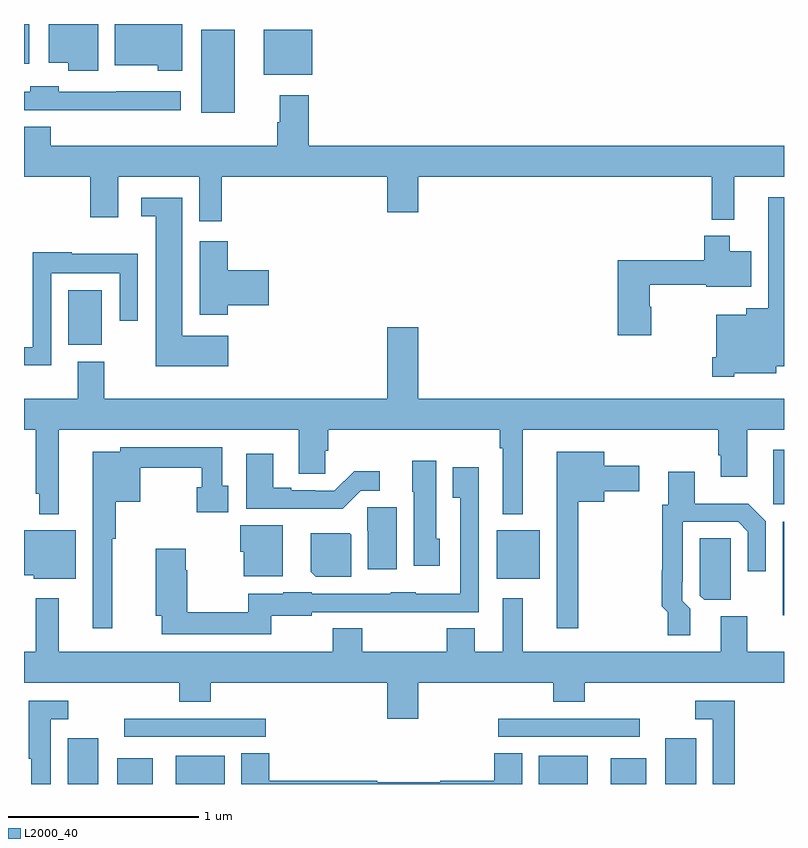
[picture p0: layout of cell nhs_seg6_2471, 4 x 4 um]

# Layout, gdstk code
import gdstk
lib = gdstk.Library(unit=1e-6, precision=1e-09)
def R(c, l, rs):  # rectangles x0, y0, x1, y1
    for r in rs: c.add(gdstk.rectangle(r[:2], r[2:], *l))
def P(c, l, *ps):  # polygons
    for p in ps: c.add(gdstk.Polygon(p, *l))
L2000_40 = (2000, 40)

nhs_seg6_2471 = lib.new_cell('nhs_seg6_2471')
R(nhs_seg6_2471, L2000_40, [(259.229,917.5,259.39,917.74), (259.49,917.5,259.678,917.635), (259.799,917.5,260.056,917.65), (261.71,917.5,261.967,917.65), (262.088,917.5,262.276,917.635), (262.376,917.5,262.537,917.74), (259.527,917.748,260.272,917.844), (261.495,917.748,262.24,917.844), (262.994,918.387,263,918.88), (261.488,918.581,261.715,918.835), (262.943,918.972,263,919.258), (259.232,919.811,259.408,920.098), (259.934,921.032,260.11,921.469), (260.261,921.233,260.518,921.469), (259,921.29,259.027,921.5)])
P(nhs_seg6_2471, L2000_40, [(259.39,921.5),(259.13,921.5),(259.13,921.296),(259.233,921.296),(259.233,921.254),(259.39,921.254)],
  [(259.834,921.499),(259.478,921.499),(259.478,921.284),(259.705,921.284),(259.705,921.254),(259.834,921.254)],
  [(259.825,921.145),(259.486,921.145),(259.486,921.144),(259.182,921.144),(259.182,921.172),(259.032,921.172),(259.032,921.144),(259,921.144),(259,921.047),(259.825,921.047)],
  [(260.041,920.696),(260.912,920.696),(260.912,920.508),(261.076,920.508),(261.076,920.696),(262.621,920.696),(262.621,920.471),(262.739,920.471),(262.739,920.696),(263,920.696),(263,920.86),(260.498,920.86),(260.498,921.124),(260.345,921.124),(260.345,920.984),(260.333,920.984),(260.333,920.86),(259.142,920.86),(259.142,920.959),(259,920.959),(259,920.696),(259.348,920.696),(259.348,920.484),(259.495,920.484),(259.495,920.696),(259.922,920.696),(259.922,920.463),(260.041,920.463)],
  [(262.737,919.661),(262.96,919.661),(262.96,919.7),(263,919.7),(263,920.587),(262.917,920.587),(262.917,920.005),(262.802,920.005),(262.802,919.969),(262.643,919.969),(262.643,919.747),(262.622,919.747),(262.622,919.643),(262.737,919.643)],
  [(260.074,919.858),(259.834,919.858),(259.834,920.586),(259.617,920.586),(259.617,920.489),(259.694,920.489),(259.694,919.7),(260.074,919.7)],
  [(262.302,920.013),(262.294,920.013),(262.294,920.128),(262.592,920.128),(262.592,920.117),(262.828,920.117),(262.828,920.305),(262.714,920.305),(262.714,920.386),(262.58,920.386),(262.58,920.257),(262.124,920.257),(262.124,919.863),(262.302,919.863)],
  [(260.072,920.021),(260.287,920.021),(260.287,920.204),(260.072,920.204),(260.072,920.356),(259.925,920.356),(259.925,919.971),(260.072,919.971)],
  [(259.143,920.189),(259.503,920.189),(259.503,919.938),(259.599,919.938),(259.599,920.29),(259.25,920.29),(259.25,920.3),(259.047,920.3),(259.047,919.8),(259,919.8),(259,919.703),(259.143,919.703)],
  [(259.183,919.364),(260.447,919.364),(260.447,919.132),(260.586,919.132),(260.586,919.254),(260.6,919.254),(260.6,919.364),(261.504,919.364),(261.504,919.268),(261.521,919.268),(261.521,918.92),(261.625,918.92),(261.625,919.364),(262.655,919.364),(262.655,919.231),(262.667,919.231),(262.667,919.116),(262.807,919.116),(262.807,919.364),(263,919.364),(263,919.528),(261.076,919.528),(261.076,919.903),(260.912,919.903),(260.912,919.528),(259.423,919.528),(259.423,919.723),(259.283,919.723),(259.283,919.528),(259,919.528),(259,919.364),(259.062,919.364),(259.062,919.027),(259.079,919.027),(259.079,918.92),(259.183,918.92)],
  [(259.465,918.79),(259.483,918.79),(259.483,918.986),(259.612,918.986),(259.612,919.164),(259.935,919.164),(259.935,919.063),(259.909,919.063),(259.909,918.929),(260.074,918.929),(260.074,919.071),(260.043,919.071),(260.043,919.272),(259.506,919.272),(259.506,919.249),(259.361,919.249),(259.361,918.321),(259.465,918.321)],
  [(261.917,918.986),(262.054,918.986),(262.054,919.04),(262.237,919.04),(262.237,919.174),(262.054,919.174),(262.054,919.249),(261.803,919.249),(261.803,918.321),(261.917,918.321)],
  [(260.772,919.044),(260.872,919.044),(260.872,919.147),(260.737,919.147),(260.634,919.044),(260.534,919.044),(260.534,919.047),(260.407,919.047),(260.407,919.06),(260.311,919.06),(260.311,919.237),(260.171,919.237),(260.171,918.95),(260.677,918.95)],
  [(261.187,918.792),(261.169,918.792),(261.169,919.201),(261.044,919.201),(261.044,919.038),(261.05,919.038),(261.05,918.648),(261.187,918.648)],
  [(260.302,918.386),(260.514,918.386),(260.514,918.405),(260.931,918.405),(260.931,918.404),(261.163,918.404),(261.163,918.405),(261.393,918.405),(261.393,919.168),(261.257,919.168),(261.257,919.007),(261.297,919.007),(261.297,918.502),(261.063,918.502),(261.063,918.508),(260.931,918.508),(260.931,918.501),(260.514,918.501),(260.514,918.508),(260.364,918.508),(260.364,918.502),(260.181,918.502),(260.181,918.404),(259.86,918.404),(259.86,918.626),(259.852,918.626),(259.852,918.739),(259.694,918.739),(259.694,918.386),(259.724,918.386),(259.724,918.288),(260.302,918.288)],
  [(262.507,918.422),(262.464,918.465),(262.464,918.565),(262.467,918.565),(262.467,918.879),(262.758,918.879),(262.809,918.828),(262.809,918.621),(262.905,918.621),(262.905,918.882),(262.811,918.976),(262.531,918.976),(262.531,919.144),(262.391,919.144),(262.391,918.969),(262.359,918.969),(262.359,918.626),(262.356,918.626),(262.356,918.436),(262.387,918.405),(262.387,918.282),(262.507,918.282)],
  [(260.962,918.957),(260.806,918.957),(260.806,918.834),(260.81,918.834),(260.81,918.63),(260.962,918.63)],
  [(260.362,918.862),(260.138,918.862),(260.138,918.723),(260.156,918.723),(260.156,918.593),(260.362,918.593)],
  [(259.273,918.835),(259,918.835),(259,918.599),(259.05,918.599),(259.05,918.581),(259.273,918.581)],
  [(260.722,918.812),(260.714,918.82),(260.51,918.82),(260.51,918.616),(260.536,918.59),(260.722,918.59)],
  [(262.72,918.683),(262.719,918.683),(262.719,918.794),(262.557,918.794),(262.557,918.492),(262.581,918.469),(262.72,918.469)],
  [(261.076,918.032),(261.785,918.032),(261.785,917.933),(261.95,917.933),(261.95,918.032),(263,918.032),(263,918.196),(262.807,918.196),(262.807,918.384),(262.667,918.384),(262.667,918.196),(261.625,918.196),(261.625,918.478),(261.521,918.478),(261.521,918.196),(261.373,918.196),(261.373,918.32),(261.226,918.32),(261.226,918.196),(260.781,918.196),(260.781,918.32),(260.626,918.32),(260.626,918.196),(259.183,918.196),(259.183,918.478),(259.062,918.478),(259.062,918.196),(259,918.196),(259,918.032),(259.817,918.032),(259.817,917.933),(259.982,917.933),(259.982,918.032),(260.912,918.032),(260.912,917.844),(261.076,917.844)],
  [(262.742,917.937),(262.533,917.937),(262.533,917.841),(262.626,917.841),(262.626,917.5),(262.742,917.5)],
  [(259.14,917.841),(259.234,917.841),(259.234,917.937),(259.024,917.937),(259.024,917.634),(259.039,917.634),(259.039,917.5),(259.14,917.5)],
  [(261.622,917.663),(261.476,917.663),(261.476,917.516),(261.192,917.516),(261.192,917.509),(260.858,917.509),(260.858,917.516),(260.291,917.516),(260.291,917.663),(260.144,917.663),(260.144,917.5),(261.622,917.5)])

lib.write_gds('nhs_seg6_2471.gds')
